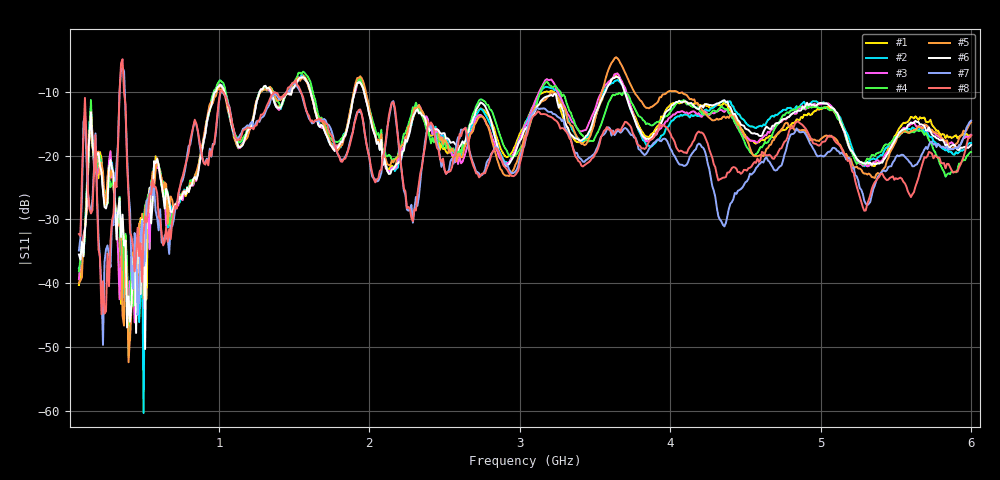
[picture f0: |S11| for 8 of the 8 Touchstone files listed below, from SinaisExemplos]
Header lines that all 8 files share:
! Window=bharris  Blocks=64  Samples=2048  Method=median
# Hz S DB R 50
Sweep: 70 MHz to 6 GHz
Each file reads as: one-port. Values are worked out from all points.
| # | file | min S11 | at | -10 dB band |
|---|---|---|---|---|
| 1 | 1.s2p | -49.0 dB | 410 MHz | over 2.297 GHz wide |
| 2 | 3.s2p | -60.4 dB | 500 MHz | over 2.297 GHz wide |
| 3 | 4.s2p | -48.2 dB | 400 MHz | over 2.292 GHz wide |
| 4 | 5.s2p | -51.5 dB | 400 MHz | over 2.73 GHz wide |
| 5 | 6.s2p | -52.4 dB | 400 MHz | over 1.955 GHz wide |
| 6 | 9.s2p | -50.3 dB | 510 MHz | over 2.303 GHz wide |
| 7 | bolinha_p1_idx07_angCW50.4000.s2p | -49.7 dB | 230 MHz | over 4.459 GHz wide |
| 8 | phantom_bowl_idx08_angCW57.6000.s2p | -44.9 dB | 220 MHz | over 4.455 GHz wide |
